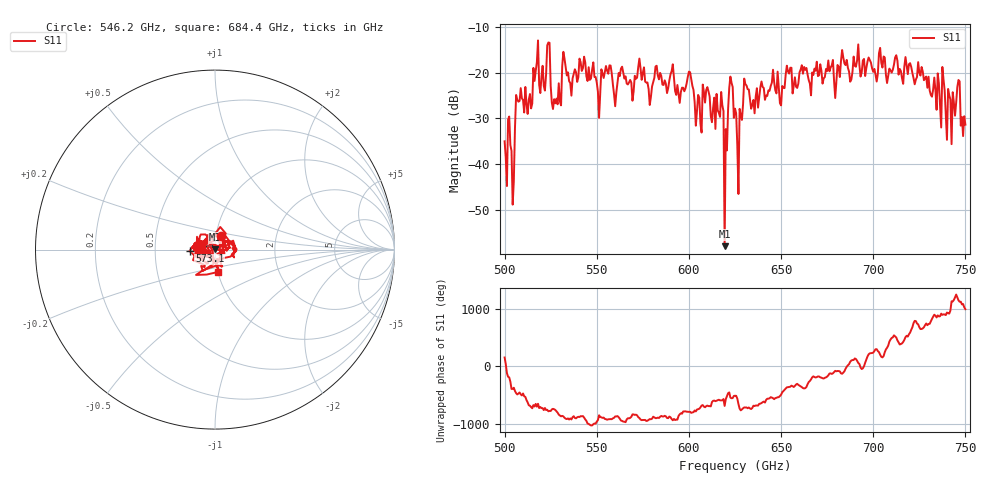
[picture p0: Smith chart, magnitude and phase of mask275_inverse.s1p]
!Created with skrf (http://scikit-rf.org).
# GHz S MA R 50.0
!freq magS11 angS11
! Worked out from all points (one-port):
!   401 points, 500 GHz to 750 GHz, reference 50 ohm
!   lowest |S11| = -57.9 dB at 619.4 GHz (marker M1), VSWR 1.00, Z = 50.1 + j0.0709 ohm
!   |S11| at or under -10 dB: start of sweep to end of sweep
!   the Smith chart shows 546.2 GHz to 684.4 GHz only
!   S11 on the Smith chart (normalised r, x): 546.2 GHz: 1.06, +0.16; 573.1 GHz: 0.75, -0.01; 684.4 GHz: 1.00, -0.25
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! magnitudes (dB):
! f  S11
! 500 GHz  -35.0
! 504.4 GHz  -48.9
! 507.5 GHz  -26.4
! 513.8 GHz  -24.7
! 516.9 GHz  -19.6
! 520.6 GHz  -18.5
! 523.8 GHz  -13.4
! 526.9 GHz  -25.8
! 531.2 GHz  -18.6
! 546.2 GHz  -21.6
! 562.5 GHz  -20.8
! 573.1 GHz  -16.9
! 593.8 GHz  -22.7
! 600 GHz  -19.8
! 617.5 GHz  -24.2
! 619.4 GHz  -57.9
! 622.5 GHz  -20.9
! 625 GHz  -27.9
! 627.5 GHz  -27.9
! 631.2 GHz  -22.8
! 634.4 GHz  -27.1
! 656.2 GHz  -24.6
! 684.4 GHz  -18.0
! 687.5 GHz  -22.0
! 718.8 GHz  -20.3
! 741.2 GHz  -25.0
! 745.6 GHz  -23.2
! 750 GHz  -31.4
